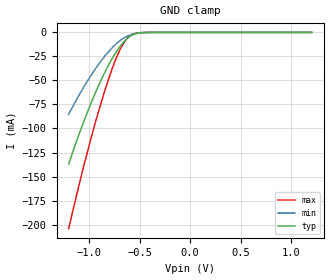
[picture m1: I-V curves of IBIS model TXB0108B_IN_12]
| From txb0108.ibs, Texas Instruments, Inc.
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[Model]   TXB0108B_IN_12
Model_type  Input
Vinl=0.385
Vinh=0.845
| variable   typ   min   max
C_comp   5.99pF   5.31pF   6.40pF
[Temperature Range]   40   100   -40
| Ambient temperature   25   85   -40
[Voltage range]   1.2   1.1   1.3
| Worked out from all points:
|   GND clamp passes 1 mA (typ) near -0.52 V on its own axis
[GND Clamp]
| TXB0108B_IN_12
|   Voltage   I(typ)   I(min)   I(max)
-1.2V     -136.9mA   -85.32mA   -204.2mA
-1.1V     -106.7mA   -65.8mA    -160mA
-1.01V    -81.7mA    -49.83mA   -122.5mA
-925mV    -60.17mA   -36.26mA   -89.63mA
-845mV    -42.03mA   -24.99mA   -61.43mA
-770mV    -27.21mA   -15.96mA   -37.8mA
-710mV    -17.21mA   -10.06mA   -21.86mA
-655mV    -9.846mA   -5.863mA   -10.85mA
-600mV    -4.617mA   -2.944mA   -4.073mA
-535mV    -1.38mA    -1.026mA   -846.3uA
-425mV    -97.11uA   -101.7uA   -26.31uA
1.2V      150.8pA    878.7pA    10.35pA
